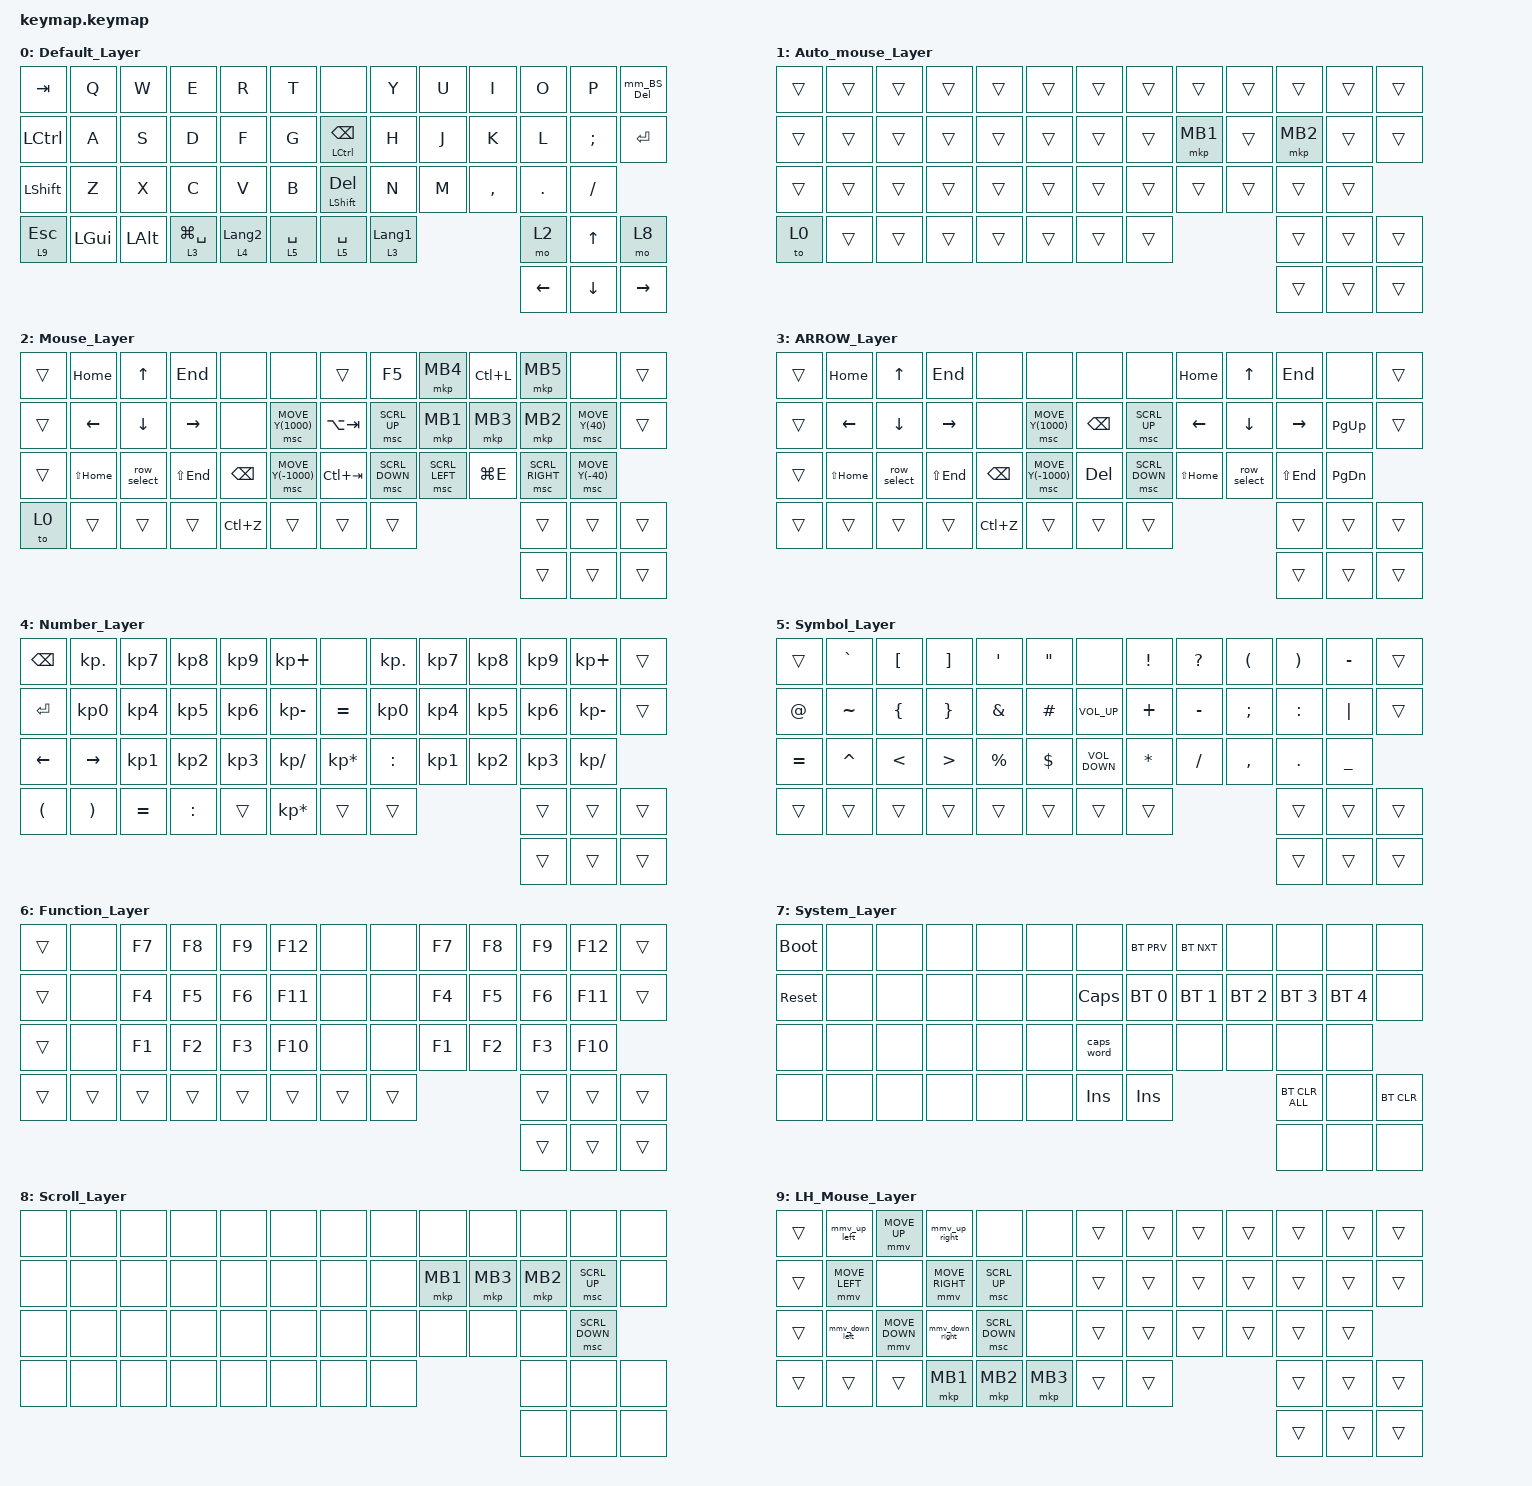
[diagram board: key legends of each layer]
#include <input/processors.dtsi>
#include <dt-bindings/zmk/input_transform.h>
#include <behaviors.dtsi>
#include <dt-bindings/zmk/bt.h>
#include <dt-bindings/zmk/keys.h>
#include <dt-bindings/zmk/pointing.h>

// オートマウスレイヤーの設定

&mkp_input_listener { input-processors = <&zip_temp_layer 1 500>; };

// オートマウスレイヤーの除外キーポジション設定

&zip_temp_layer {
    excluded-positions = <
        21 // J
        22 // K
        23 // L
    >;
};

// &ltの誤動作防止設定

&lt {
    tapping-term-ms = <240>;    /* 単発：<msec>待ったらレイヤーにする */
    quick-tap-ms = <200>;       /* 連打：<msec>以内に2回目を叩いたら即スペースにする */
    flavor = "tap-preferred";   /* 判定：時間内ならタップを優先する */
};

// &mtの誤動作防止設定

&mt {
    tapping-term-ms = <240>;    /* 単発：<msec>待ったらレイヤーにする */
    quick-tap-ms = <200>;       /* 連打：<msec>以内に2回目を叩いたら即スペースにする */
    flavor = "tap-preferred";   /* 判定：時間内ならタップを優先する */
};

/ {
    combos {
        compatible = "zmk,combos";

        Function_layer {
            bindings = <&mo 6>;
            key-positions = <44 45>;
        };

        mouse_button {
            bindings = <&mo 2>;
            key-positions = <43 42>;
        };

        bluetooth_layer {
            bindings = <&mo 7>;
            key-positions = <38 39 40>;
        };

        scroll_layer {
            bindings = <&mo 8>;
            key-positions = <23 22>;
        };

        kp_equal {
            bindings = <&kp EQUAL>;
            key-positions = <42 2 3>;
        };

        colon {
            bindings = <&kp COLON>;
            key-positions = <16 42 15>;
        };

        row_select {
            bindings = <&row_select>;
            key-positions = <28 29 42>;
        };

        scroll_layer2 {
            bindings = <&mo 8>;
            key-positions = <25 48>;
        };

        To_mouse_mode {
            bindings = <&to 2>;
            key-positions = <8 9 10>;
        };

        To_layer_0 {
            bindings = <&to 0>;
            key-positions = <32 19>;
        };
    };

    macros {
        row_select: row_select {
            compatible = "zmk,behavior-macro";
            #binding-cells = <0>;
            bindings = <&kp HOME &kp LS(END)>;
            label = "ROW_SELECT";
        };

        mmv_up_left: mmv_up_left {
            compatible = "zmk,behavior-macro";
            #binding-cells = <0>;
            bindings =
                <&macro_press>,
                <&mmv MOVE_UP &mmv MOVE_LEFT>,
                <&macro_pause_for_release>,
                <&macro_release>,
                <&mmv MOVE_UP &mmv MOVE_LEFT>;

            label = "MMV_UP_LEFT";
        };

        mmv_up_right: mmv_up_right {
            compatible = "zmk,behavior-macro";
            #binding-cells = <0>;
            bindings =
                <&macro_press>,
                <&mmv MOVE_UP &mmv MOVE_RIGHT>,
                <&macro_pause_for_release>,
                <&macro_release>,
                <&mmv MOVE_UP &mmv MOVE_RIGHT>;

            label = "MMV_UP_RIGHT";
        };

        mmv_down_left: mmv_down_left {
            compatible = "zmk,behavior-macro";
            #binding-cells = <0>;
            bindings =
                <&macro_press>,
                <&mmv MOVE_DOWN &mmv MOVE_LEFT>,
                <&macro_pause_for_release>,
                <&macro_release>,
                <&mmv MOVE_DOWN &mmv MOVE_LEFT>;

            label = "MMV_DOWN_LEFT";
        };

        mmv_down_right: mmv_down_right {
            compatible = "zmk,behavior-macro";
            #binding-cells = <0>;
            bindings =
                <&macro_press>,
                <&mmv MOVE_DOWN &mmv MOVE_RIGHT>,
                <&macro_pause_for_release>,
                <&macro_release>,
                <&mmv MOVE_DOWN &mmv MOVE_RIGHT>;

            label = "MMV_DOWN_RIGHT";
        };
    };

    behaviors {
        lt_to: lt_to {
            compatible = "zmk,behavior-hold-tap";
            label = "LT_TO";
            #binding-cells = <2>;
            bindings = <&mo>, <&to>;

            tapping-term-ms = <240>;
            flavor = "balanced";
        };

        hm: hm {
            compatible = "zmk,behavior-hold-tap";
            label = "HM";
            bindings = <&kp>, <&kp>;

            #binding-cells = <2>;
            tapping-term-ms = <280>;
            quick-tap-ms = <175>;
            require-prior-idle-ms = <150>;
            flavor = "tap-preferred";
        };

        msc_v_up: msc_v_up {
            compatible = "zmk,behavior-mod-morph";
            label = "MSC_V_UP";
            bindings = <&msc MOVE_Y(20)>, <&msc MOVE_Y(10)>;

            #binding-cells = <0>;
            mods = <(MOD_LSFT|MOD_RSFT)>;
        };

        msc_v_down: msc_v_down {
            compatible = "zmk,behavior-mod-morph";
            label = "MSC_V_DOWN";
            bindings = <&msc MOVE_Y(-20)>, <&msc MOVE_Y(-10)>;

            #binding-cells = <0>;
            mods = <(MOD_LSFT|MOD_RSFT)>;
        };

        mm_BS_Del: mm_BS_Del {
            compatible = "zmk,behavior-mod-morph";
            label = "MM_BS_DEL";
            bindings = <&kp BACKSPACE>, <&kp DELETE>;

            #binding-cells = <0>;
            mods = <(MOD_LSFT|MOD_RSFT)>;
        };
    };

    keymap {
        compatible = "zmk,keymap";

        Default_Layer {
            bindings = <
&kp TAB     &kp Q     &kp W     &kp E            &kp R             &kp T        &none                       &kp Y             &kp U  &kp I      &kp O           &kp P           &mm_BS_Del
&kp LCTRL   &kp A     &kp S     &kp D            &kp F             &kp G        &mt LEFT_CONTROL BACKSPACE  &kp H             &kp J  &kp K      &kp L           &kp SEMICOLON   &kp ENTER
&kp LSHIFT  &kp Z     &kp X     &kp C            &kp V             &kp B        &mt LEFT_SHIFT DELETE       &kp N             &kp M  &kp COMMA  &kp DOT         &kp SLASH
&lt 9 ESC   &kp LGUI  &kp LALT  &lt 3 LG(SPACE)  &lt 4 LANGUAGE_2  &lt 5 SPACE  &lt 5 SPACE                 &lt 3 LANGUAGE_1                    &mo 2           &kp UP_ARROW    &mo 8
                                                                                                                                                &kp LEFT_ARROW  &kp DOWN_ARROW  &kp RIGHT_ARROW
            >;
        };

        Auto_mouse_Layer {
            bindings = <
&trans  &trans  &trans  &trans  &trans  &trans  &trans  &trans  &trans    &trans  &trans    &trans  &trans
&trans  &trans  &trans  &trans  &trans  &trans  &trans  &trans  &mkp MB1  &trans  &mkp MB2  &trans  &trans
&trans  &trans  &trans  &trans  &trans  &trans  &trans  &trans  &trans    &trans  &trans    &trans
&to 0   &trans  &trans  &trans  &trans  &trans  &trans  &trans                    &trans    &trans  &trans
                                                                                  &trans    &trans  &trans
            >;
        };

        Mouse_Layer {
            bindings = <
&trans  &kp HOME        &kp UP_ARROW    &kp END          &none          &none               &trans       &kp F5          &mkp MB4        &kp LC(L)  &mkp MB5         &none             &trans
&trans  &kp LEFT_ARROW  &kp DOWN_ARROW  &kp RIGHT_ARROW  &none          &msc MOVE_Y(1000)   &kp LA(TAB)  &msc SCRL_UP    &mkp MB1        &mkp MB3   &mkp MB2         &msc MOVE_Y(40)   &trans
&trans  &kp LS(HOME)    &row_select     &kp LS(END)      &kp BACKSPACE  &msc MOVE_Y(-1000)  &kp LC(TAB)  &msc SCRL_DOWN  &msc SCRL_LEFT  &kp LG(E)  &msc SCRL_RIGHT  &msc MOVE_Y(-40)
&to 0   &trans          &trans          &trans           &kp LC(Z)      &trans              &trans       &trans                                     &trans           &trans            &trans
                                                                                                                                                    &trans           &trans            &trans
            >;
        };

        ARROW_Layer {
            bindings = <
&trans  &kp HOME        &kp UP_ARROW    &kp END          &none          &none               &none          &none           &kp HOME        &kp UP_ARROW    &kp END          &none          &trans
&trans  &kp LEFT_ARROW  &kp DOWN_ARROW  &kp RIGHT_ARROW  &none          &msc MOVE_Y(1000)   &kp BACKSPACE  &msc SCRL_UP    &kp LEFT_ARROW  &kp DOWN_ARROW  &kp RIGHT_ARROW  &kp PAGE_UP    &trans
&trans  &kp LS(HOME)    &row_select     &kp LS(END)      &kp BACKSPACE  &msc MOVE_Y(-1000)  &kp DELETE     &msc SCRL_DOWN  &kp LS(HOME)    &row_select     &kp LS(END)      &kp PAGE_DOWN
&trans  &trans          &trans          &trans           &kp LC(Z)      &trans              &trans         &trans                                          &trans           &trans         &trans
                                                                                                                                                           &trans           &trans         &trans
            >;
        };

        Number_Layer {
            bindings = <
&kp BACKSPACE         &kp KP_DOT             &kp KP_NUMBER_7  &kp KP_NUMBER_8  &kp KP_NUMBER_9  &kp KP_PLUS      &none            &kp KP_DOT       &kp KP_NUMBER_7  &kp KP_NUMBER_8  &kp KP_NUMBER_9  &kp KP_PLUS      &trans
&kp ENTER             &kp KP_NUMBER_0        &kp KP_NUMBER_4  &kp KP_NUMBER_5  &kp KP_NUMBER_6  &kp KP_MINUS     &kp EQUAL        &kp KP_NUMBER_0  &kp KP_NUMBER_4  &kp KP_NUMBER_5  &kp KP_NUMBER_6  &kp KP_SUBTRACT  &trans
&kp LEFT_ARROW        &kp RIGHT_ARROW        &kp KP_NUMBER_1  &kp KP_NUMBER_2  &kp KP_NUMBER_3  &kp KP_SLASH     &kp KP_MULTIPLY  &kp COLON        &kp KP_NUMBER_1  &kp KP_NUMBER_2  &kp KP_NUMBER_3  &kp KP_SLASH
&kp LEFT_PARENTHESIS  &kp RIGHT_PARENTHESIS  &kp EQUAL        &kp COLON        &trans           &kp KP_MULTIPLY  &trans           &trans                                             &trans           &trans           &trans
                                                                                                                                                                                     &trans           &trans           &trans
            >;
        };

        Symbol_Layer {
            bindings = <
&trans       &kp GRAVE  &kp LEFT_BRACKET  &kp RIGHT_BRACKET  &kp SQT        &kp DOUBLE_QUOTES  &none              &kp EXCLAMATION  &kp QUESTION  &kp LEFT_PARENTHESIS  &kp RIGHT_PARENTHESIS  &kp MINUS       &trans
&kp AT_SIGN  &kp TILDE  &kp LEFT_BRACE    &kp RIGHT_BRACE    &kp AMPERSAND  &kp HASH           &kp C_VOLUME_UP    &kp PLUS         &kp MINUS     &kp SEMICOLON         &kp COLON              &kp PIPE        &trans
&kp EQUAL    &kp CARET  &kp LESS_THAN     &kp GREATER_THAN   &kp PERCENT    &kp DOLLAR         &kp C_VOLUME_DOWN  &kp ASTERISK     &kp SLASH     &kp COMMA             &kp PERIOD             &kp UNDERSCORE
&trans       &trans     &trans            &trans             &trans         &trans             &trans             &trans                                               &trans                 &trans          &trans
                                                                                                                                                                       &trans                 &trans          &trans
            >;
        };

        Function_Layer {
            bindings = <
&trans  &none   &kp F7  &kp F8  &kp F9  &kp F12  &none   &none   &kp F7  &kp F8  &kp F9  &kp F12  &trans
&trans  &none   &kp F4  &kp F5  &kp F6  &kp F11  &none   &none   &kp F4  &kp F5  &kp F6  &kp F11  &trans
&trans  &none   &kp F1  &kp F2  &kp F3  &kp F10  &none   &none   &kp F1  &kp F2  &kp F3  &kp F10
&trans  &trans  &trans  &trans  &trans  &trans   &trans  &trans                  &trans  &trans   &trans
                                                                                 &trans  &trans   &trans
            >;
        };

        System_Layer {
            bindings = <
&bootloader  &none  &none  &none  &none  &none  &none       &bt BT_PRV    &bt BT_NXT    &none         &none           &none         &none
&sys_reset   &none  &none  &none  &none  &none  &kp CAPS    &bt BT_SEL 0  &bt BT_SEL 1  &bt BT_SEL 2  &bt BT_SEL 3    &bt BT_SEL 4  &none
&none        &none  &none  &none  &none  &none  &caps_word  &none         &none         &none         &none           &none
&none        &none  &none  &none  &none  &none  &kp INS     &kp INS                                   &bt BT_CLR_ALL  &none         &bt BT_CLR
                                                                                                      &none           &none         &none
            >;
        };

        Scroll_Layer {
            bindings = <
&none  &none  &none  &none  &none  &none  &none  &none  &none     &none     &none     &none           &none
&none  &none  &none  &none  &none  &none  &none  &none  &mkp MB1  &mkp MB3  &mkp MB2  &msc SCRL_UP    &none
&none  &none  &none  &none  &none  &none  &none  &none  &none     &none     &none     &msc SCRL_DOWN
&none  &none  &none  &none  &none  &none  &none  &none                      &none     &none           &none
                                                                            &none     &none           &none
            >;
        };

        LH_Mouse_Layer {
            bindings = <
&trans  &mmv_up_left    &mmv MOVE_UP    &mmv_up_right    &none           &none     &trans  &trans  &trans  &trans  &trans  &trans  &trans
&trans  &mmv MOVE_LEFT  &none           &mmv MOVE_RIGHT  &msc SCRL_UP    &none     &trans  &trans  &trans  &trans  &trans  &trans  &trans
&trans  &mmv_down_left  &mmv MOVE_DOWN  &mmv_down_right  &msc SCRL_DOWN  &none     &trans  &trans  &trans  &trans  &trans  &trans
&trans  &trans          &trans          &mkp MB1         &mkp MB2        &mkp MB3  &trans  &trans                  &trans  &trans  &trans
                                                                                                                   &trans  &trans  &trans
            >;
        };
    };

    conditional_layers { compatible = "zmk,conditional-layers"; };
};
